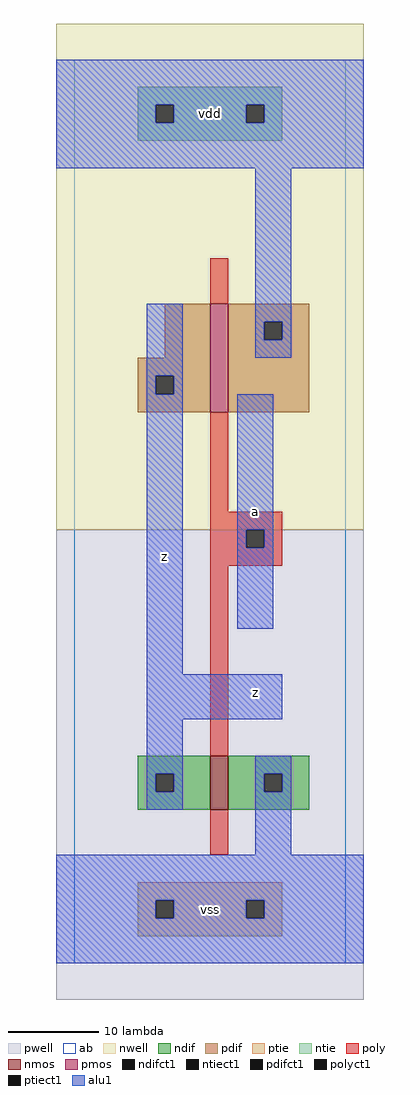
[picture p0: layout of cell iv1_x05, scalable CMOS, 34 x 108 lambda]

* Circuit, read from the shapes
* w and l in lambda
.subckt iv1_x05 a vdd vss z
M1 vss a z vss nfet w=6 l=2
M2 vdd a z vdd pfet w=12 l=2
.ends

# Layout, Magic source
magic
tech scmos
<< ab >>
rect 0 0 30 100
<< nwell >>
rect -2 48 32 104
<< pwell >>
rect -2 -4 32 48
<< poly >>
rect 15 73 17 78
rect 15 50 17 61
rect 15 48 23 50
rect 15 46 19 48
rect 21 46 23 48
rect 15 44 23 46
rect 15 23 17 44
rect 15 12 17 17
<< ndif >>
rect 7 21 15 23
rect 7 19 9 21
rect 11 19 15 21
rect 7 17 15 19
rect 17 21 26 23
rect 17 19 21 21
rect 23 19 26 21
rect 17 17 26 19
<< pdif >>
rect 10 67 15 73
rect 7 65 15 67
rect 7 63 9 65
rect 11 63 15 65
rect 7 61 15 63
rect 17 71 26 73
rect 17 69 21 71
rect 23 69 26 71
rect 17 61 26 69
<< alu1 >>
rect -2 95 32 100
rect -2 93 9 95
rect 11 93 19 95
rect 21 93 32 95
rect -2 88 32 93
rect 8 65 12 73
rect 20 71 24 88
rect 20 69 21 71
rect 23 69 24 71
rect 20 67 24 69
rect 8 63 9 65
rect 11 63 12 65
rect 8 32 12 63
rect 18 48 22 63
rect 18 46 19 48
rect 21 46 22 48
rect 18 37 22 46
rect 8 27 23 32
rect 8 21 12 27
rect 8 19 9 21
rect 11 19 12 21
rect 8 17 12 19
rect 20 21 24 23
rect 20 19 21 21
rect 23 19 24 21
rect 20 12 24 19
rect -2 7 32 12
rect -2 5 9 7
rect 11 5 19 7
rect 21 5 32 7
rect -2 0 32 5
<< ptie >>
rect 7 7 23 9
rect 7 5 9 7
rect 11 5 19 7
rect 21 5 23 7
rect 7 3 23 5
<< ntie >>
rect 7 95 23 97
rect 7 93 9 95
rect 11 93 19 95
rect 21 93 23 95
rect 7 91 23 93
<< nmos >>
rect 15 17 17 23
<< pmos >>
rect 15 61 17 73
<< polyct1 >>
rect 19 46 21 48
<< ndifct1 >>
rect 9 19 11 21
rect 21 19 23 21
<< ntiect1 >>
rect 9 93 11 95
rect 19 93 21 95
<< ptiect1 >>
rect 9 5 11 7
rect 19 5 21 7
<< pdifct1 >>
rect 9 63 11 65
rect 21 69 23 71
<< labels >>
rlabel alu1 10 45 10 45 6 z
rlabel alu1 15 6 15 6 6 vss
rlabel alu1 20 30 20 30 6 z
rlabel alu1 20 50 20 50 6 a
rlabel alu1 15 94 15 94 6 vdd
<< end >>
